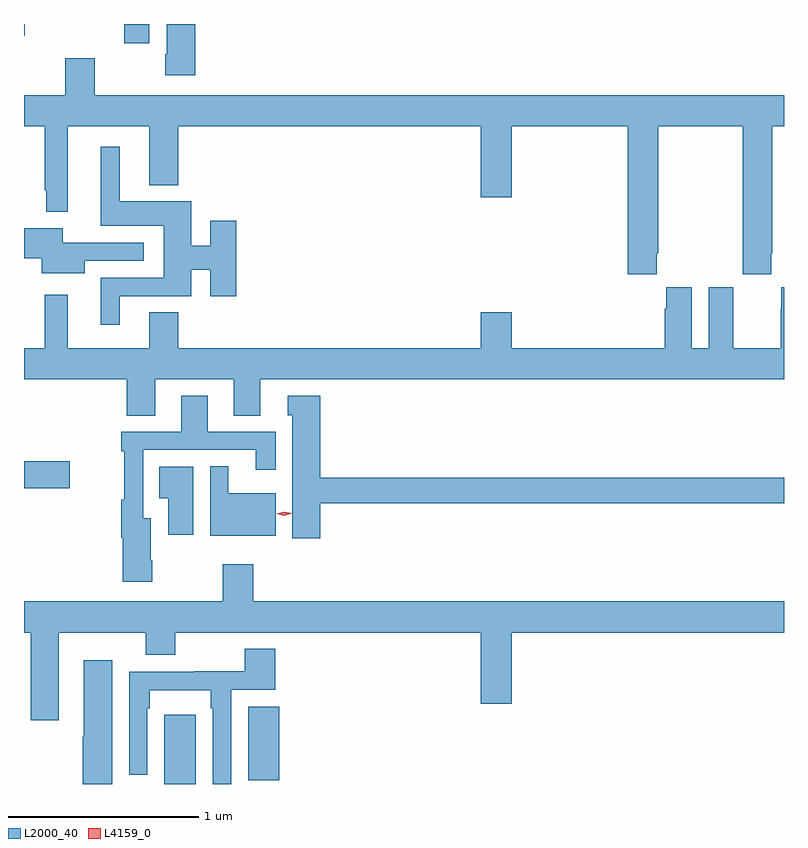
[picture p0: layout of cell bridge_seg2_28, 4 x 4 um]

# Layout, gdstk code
import gdstk
lib = gdstk.Library(unit=1e-6, precision=1e-09)
def R(c, l, rs):  # rectangles x0, y0, x1, y1
    for r in rs: c.add(gdstk.rectangle(r[:2], r[2:], *l))
def P(c, l, *ps):  # polygons
    for p in ps: c.add(gdstk.Polygon(p, *l))
L2000_40 = (2000, 40)
L4159_0 = (4159, 0)

bridge_seg2_28 = lib.new_cell('bridge_seg2_28')
R(bridge_seg2_28, L2000_40, [(774.731,601.551,774.898,601.915), (775.172,601.571,775.336,601.957), (773.993,603.107,774.235,603.249), (774.521,605.451,774.652,605.551), (773.993,605.489,773.998,605.551)])
P(bridge_seg2_28, L2000_40, [(774.893,605.551),(774.743,605.551),(774.743,605.392),(774.736,605.392),(774.736,605.28),(774.893,605.28)],
  [(774.366,605.371),(774.211,605.371),(774.211,605.176),(773.993,605.176),(773.993,605.012),(774.102,605.012),(774.102,604.675),(774.109,604.675),(774.109,604.563),(774.223,604.563),(774.223,605.012),(774.653,605.012),(774.653,604.703),(774.806,604.703),(774.806,605.012),(776.396,605.012),(776.396,604.638),(776.56,604.638),(776.56,605.012),(777.17,605.012),(777.17,604.233),(777.323,604.233),(777.323,604.345),(777.33,604.345),(777.33,605.012),(777.775,605.012),(777.775,604.345),(777.777,604.345),(777.777,604.233),(777.927,604.233),(777.927,604.345),(777.93,604.345),(777.93,605.012),(777.993,605.012),(777.993,605.176),(774.366,605.176)],
  [(774.496,604.119),(774.874,604.119),(774.874,604.257),(774.974,604.257),(774.974,604.119),(775.109,604.119),(775.109,604.516),(774.974,604.516),(774.974,604.385),(774.874,604.385),(774.874,604.618),(774.496,604.618),(774.496,604.906),(774.398,604.906),(774.398,604.49),(774.728,604.49),(774.728,604.215),(774.398,604.215),(774.398,603.969),(774.496,603.969)],
  [(774.313,604.305),(774.622,604.305),(774.622,604.401),(774.196,604.401),(774.196,604.477),(773.993,604.477),(773.993,604.318),(774.086,604.318),(774.086,604.238),(774.313,604.238)],
  [(777.993,604.165),(777.978,604.165),(777.978,604.052),(777.977,604.052),(777.977,603.844),(777.727,603.844),(777.727,604.052),(777.726,604.052),(777.726,604.165),(777.596,604.165),(777.596,603.844),(777.508,603.844),(777.508,604.165),(777.374,604.165),(777.374,604.052),(777.365,604.052),(777.365,603.844),(776.56,603.844),(776.56,604.033),(776.396,604.033),(776.396,603.844),(774.806,603.844),(774.806,604.034),(774.653,604.034),(774.653,603.844),(774.223,603.844),(774.223,604.126),(774.102,604.126),(774.102,603.844),(773.993,603.844),(773.993,603.68),(774.533,603.68),(774.533,603.49),(774.685,603.49),(774.685,603.68),(775.097,603.68),(775.097,603.49),(775.237,603.49),(775.237,603.68),(777.993,603.68)],
  [(775.553,603.028),(777.993,603.028),(777.993,603.164),(775.553,603.164),(775.553,603.595),(775.382,603.595),(775.382,603.492),(775.406,603.492),(775.406,602.844),(775.553,602.844)],
  [(774.669,602.728),(774.661,602.728),(774.661,602.95),(774.621,602.95),(774.621,603.309),(775.214,603.309),(775.214,603.204),(775.318,603.204),(775.318,603.405),(774.961,603.405),(774.961,603.595),(774.821,603.595),(774.821,603.405),(774.505,603.405),(774.505,603.302),(774.52,603.302),(774.52,603.046),(774.505,603.046),(774.505,602.846),(774.512,602.846),(774.512,602.616),(774.669,602.616)],
  [(775.318,603.082),(775.069,603.082),(775.069,603.224),(774.972,603.224),(774.972,602.858),(775.318,602.858)],
  [(774.883,603.22),(774.706,603.22),(774.706,603.056),(774.752,603.056),(774.752,602.862),(774.883,602.862)],
  [(774.175,602.348),(774.634,602.348),(774.634,602.231),(774.789,602.231),(774.789,602.348),(776.396,602.348),(776.396,601.974),(776.56,601.974),(776.56,602.348),(777.993,602.348),(777.993,602.512),(775.199,602.512),(775.199,602.707),(775.039,602.707),(775.039,602.512),(773.993,602.512),(773.993,602.348),(774.028,602.348),(774.028,601.887),(774.175,601.887)],
  [(775.083,602.046),(775.316,602.046),(775.316,602.263),(775.156,602.263),(775.156,602.144),(774.89,602.144),(774.89,602.142),(774.546,602.142),(774.546,601.599),(774.642,601.599),(774.642,601.949),(774.655,601.949),(774.655,602.045),(774.975,602.045),(774.975,601.949),(774.987,601.949),(774.987,601.551),(775.083,601.551)],
  [(774.457,602.203),(774.308,602.203),(774.308,601.799),(774.301,601.799),(774.301,601.551),(774.457,601.551)])
P(bridge_seg2_28, L4159_0, [(775.362,602.964),(775.322,602.973),(775.322,602.973),(775.322,602.974),(775.362,602.984),(775.402,602.976),(775.402,602.976),(775.402,602.975)])

lib.write_gds('bridge_seg2_28.gds')
